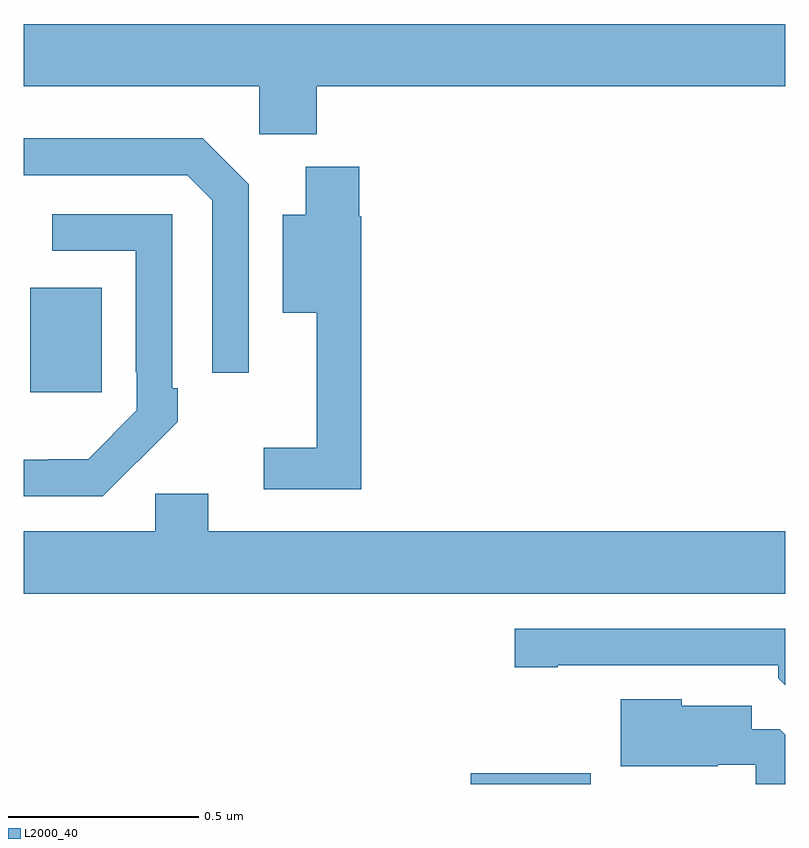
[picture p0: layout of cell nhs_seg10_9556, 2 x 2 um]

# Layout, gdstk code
import gdstk
lib = gdstk.Library(unit=1e-6, precision=1e-09)
def R(c, l, rs):  # rectangles x0, y0, x1, y1
    for r in rs: c.add(gdstk.rectangle(r[:2], r[2:], *l))
def P(c, l, *ps):  # polygons
    for p in ps: c.add(gdstk.Polygon(p, *l))
L2000_40 = (2000, 40)

nhs_seg10_9556 = lib.new_cell('nhs_seg10_9556')
R(nhs_seg10_9556, L2000_40, [(232.174,1282.5,232.489,1282.528), (231.017,1283.529,231.205,1283.803)])
P(nhs_seg10_9556, L2000_40, [(231.77,1284.332),(233,1284.332),(233,1284.496),(231,1284.496),(231,1284.332),(231.618,1284.332),(231.618,1284.206),(231.77,1284.206)],
  [(231.591,1284.075),(231.47,1284.196),(231,1284.196),(231,1284.099),(231.429,1284.099),(231.495,1284.033),(231.495,1283.58),(231.591,1283.58)],
  [(231.887,1283.991),(231.881,1283.991),(231.881,1284.121),(231.74,1284.121),(231.74,1283.995),(231.68,1283.995),(231.68,1283.738),(231.77,1283.738),(231.77,1283.383),(231.63,1283.383),(231.63,1283.274),(231.887,1283.274)],
  [(231.299,1283.347),(231.3,1283.346),(231.405,1283.451),(231.405,1283.539),(231.39,1283.539),(231.39,1283.997),(231.075,1283.997),(231.075,1283.901),(231.294,1283.901),(231.294,1283.581),(231.297,1283.581),(231.297,1283.481),(231.169,1283.353),(231.065,1283.353),(231.065,1283.352),(231,1283.352),(231,1283.256),(231.208,1283.256)],
  [(233,1283.164),(231.484,1283.164),(231.484,1283.262),(231.345,1283.262),(231.345,1283.164),(231,1283.164),(231,1283),(233,1283)],
  [(233,1282.908),(232.29,1282.908),(232.29,1282.807),(232.402,1282.807),(232.402,1282.812),(232.982,1282.812),(232.982,1282.778),(233,1282.76)],
  [(233,1282.63),(232.986,1282.644),(232.912,1282.644),(232.912,1282.705),(232.728,1282.705),(232.728,1282.723),(232.568,1282.723),(232.568,1282.547),(232.823,1282.547),(232.823,1282.551),(232.923,1282.551),(232.923,1282.5),(233,1282.5)])

lib.write_gds('nhs_seg10_9556.gds')
